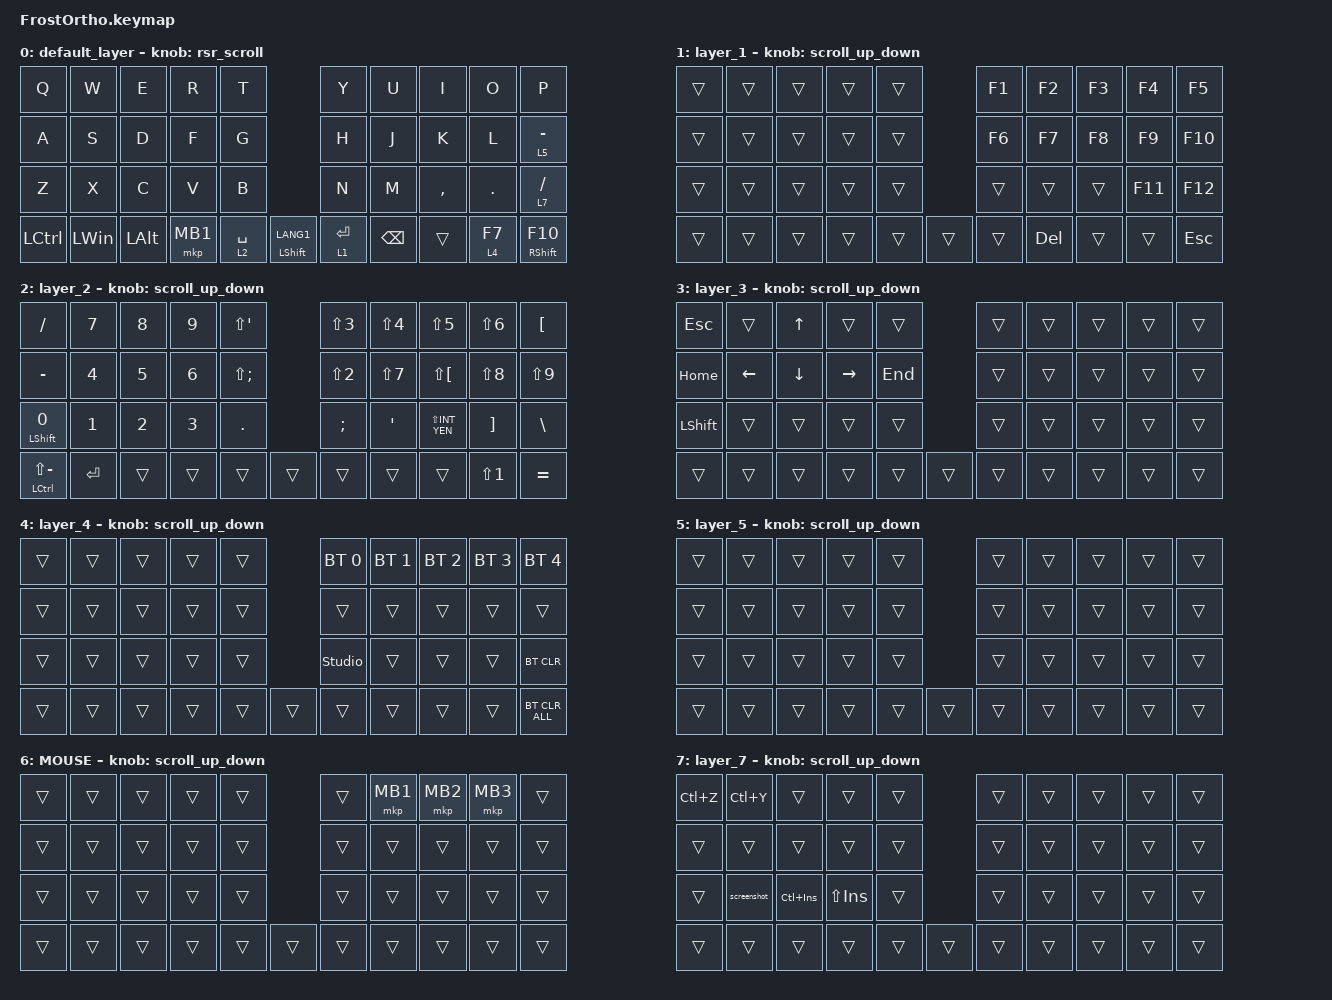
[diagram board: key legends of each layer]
#include <input/processors.dtsi>
#include <behaviors/runtime-sensor-rotate.dtsi>
#include <behaviors/runtime-sensor-rotate.dtsi>
#include <behaviors.dtsi>
#include <dt-bindings/zmk/bt.h>
#include <dt-bindings/zmk/keys.h>
#include <dt-bindings/zmk/pointing.h>

#define MOUSE 6

&mt {
    flavor = "balanced";
    quick-tap-ms = <0>;
};

// AML クリックしたときにタイムアウトを延長

&mkp_input_listener { input-processors = <&zip_temp_layer 6 10000>; };

/ {
    combos {
        compatible = "zmk,combos";

        lang2 {
            bindings = <&kp LANGUAGE_2>;
            key-positions = <13 12>;
        };

        esc {
            bindings = <&kp ESCAPE>;
            key-positions = <35 24>;
        };
    };

    macros {
        to_layer_0: to_layer_0 {
            compatible = "zmk,behavior-macro-one-param";
            #binding-cells = <1>;
            bindings = <&to 0 &macro_param_1to1 &kp MACRO_PLACEHOLDER>;
            label = "TO_LAYER_0";
        };

        screenshot: screenshot {
            compatible = "zmk,behavior-macro";
            #binding-cells = <0>;
            bindings =
                <&to 7>,
                <&macro_press>,
                <&kp LEFT_WIN &kp LEFT_SHIFT &kp S>,
                <&macro_release>,
                <&kp LEFT_WIN &kp LEFT_SHIFT &kp S>;

            label = "SCREENSHOT";
        };
    };

    behaviors {
        lt_to_layer_0: lt_to_layer_0 {
            compatible = "zmk,behavior-hold-tap";
            label = "LAYER_TAP_TO_0";
            bindings = <&mo>, <&to_layer_0>;

            #binding-cells = <2>;
            tapping-term-ms = <300>;
        };

        // Kyemap Editor用

        scroll_up_down: behavior_sensor_rotate_mouse_wheel_up_down {
            compatible = "zmk,behavior-sensor-rotate";
            #sensor-binding-cells = <0>;
            tap-ms = <20>;
            bindings = <&msc SCRL_UP>, <&msc SCRL_DOWN>;
        };

        //vol_up_down: vol_up_down {
        //    compatible = "zmk,behavior-sensor-rotate";
        //    #sensor-binding-cells = <0>;
        //    tap-ms = <5>;
        //    bindings = <&kp C_VOL_DN>, <&kp C_VOL_UP>;
        //};

        // DYA Studio用

        //rsr_vol: rsr_vol {
        //    compatible = "zmk,behavior-runtime-sensor-rotate";
        //    #sensor-binding-cells = <0>;
        //    tap-ms = <5>;
        //    cw-binding = <&kp C_VOL_DN>;
        //    ccw-binding = <&kp C_VOL_UP>;
        //};
        rsr_scroll: rsr_scroll {
            compatible = "zmk,behavior-runtime-sensor-rotate";
            #sensor-binding-cells = <0>;
            tap-ms = <20>;
            cw-binding = <&msc SCRL_DOWN>;
            ccw-binding = <&msc SCRL_UP>;
         };
    };

    keymap {
        compatible = "zmk,keymap";

        default_layer {
            bindings = <
&kp Q             &kp W         &kp E         &kp R     &kp T                                  &kp Y        &kp U          &kp I      &kp O       &kp P
&kp A             &kp S         &kp D         &kp F     &kp G                                  &kp H        &kp J          &kp K      &kp L       &lt 5 MINUS
&kp Z             &kp X         &kp C         &kp V     &kp B                                  &kp N        &kp M          &kp COMMA  &kp PERIOD  &lt 7 SLASH
&kp LEFT_CONTROL  &kp LEFT_WIN  &kp LEFT_ALT  &mkp MB1  &lt 2 SPACE  &mt LEFT_SHIFT LANG1      &lt 1 ENTER  &kp BACKSPACE  &trans     &lt 4 F7    &mt RIGHT_SHIFT F10
            >;

            sensor-bindings = <&rsr_scroll>;
        };

        layer_1 {
            bindings = <
&trans  &trans  &trans  &trans  &trans              &kp F1  &kp F2   &kp F3  &kp F4   &kp F5
&trans  &trans  &trans  &trans  &trans              &kp F6  &kp F7   &kp F8  &kp F9   &kp F10
&trans  &trans  &trans  &trans  &trans              &trans  &trans   &trans  &kp F11  &kp F12
&trans  &trans  &trans  &trans  &trans  &trans      &trans  &kp DEL  &trans  &trans   &kp ESCAPE
            >;

            sensor-bindings = <&scroll_up_down>;
        };

        layer_2 {
            bindings = <
&kp SLASH                   &kp N7     &kp N8  &kp N9  &kp LS(SQT)                    &kp LS(NUMBER_3)  &kp LS(NUMBER_4)  &kp LS(NUMBER_5)      &kp LS(NUMBER_6)   &kp LEFT_BRACKET
&kp MINUS                   &kp N4     &kp N5  &kp N6  &kp LS(SEMICOLON)              &kp LS(N2)        &kp LS(N7)        &kp LS(LEFT_BRACKET)  &kp LS(NUMBER_8)   &kp LS(NUMBER_9)
&mt LEFT_SHIFT N0           &kp N1     &kp N2  &kp N3  &kp PERIOD                     &kp SEMICOLON     &kp SQT           &kp LS(INT_YEN)       &kp RIGHT_BRACKET  &kp BACKSLASH
&mt LEFT_CONTROL LS(MINUS)  &kp ENTER  &trans  &trans  &trans             &trans      &trans            &trans            &trans                &kp LS(NUMBER_1)   &kp EQUAL
            >;

            sensor-bindings = <&scroll_up_down>;
        };

        layer_3 {
            bindings = <
&kp ESCAPE      &trans          &kp UP_ARROW    &trans           &trans               &trans  &trans  &trans  &trans  &trans
&kp HOME        &kp LEFT_ARROW  &kp DOWN_ARROW  &kp RIGHT_ARROW  &kp END              &trans  &trans  &trans  &trans  &trans
&kp LEFT_SHIFT  &trans          &trans          &trans           &trans               &trans  &trans  &trans  &trans  &trans
&trans          &trans          &trans          &trans           &trans   &trans      &trans  &trans  &trans  &trans  &trans
            >;

            sensor-bindings = <&scroll_up_down>;
        };

        layer_4 {
            bindings = <
&trans  &trans  &trans  &trans  &trans              &bt BT_SEL 0    &bt BT_SEL 1  &bt BT_SEL 2  &bt BT_SEL 3  &bt BT_SEL 4
&trans  &trans  &trans  &trans  &trans              &trans          &trans        &trans        &trans        &trans
&trans  &trans  &trans  &trans  &trans              &studio_unlock  &trans        &trans        &trans        &bt BT_CLR
&trans  &trans  &trans  &trans  &trans  &trans      &trans          &trans        &trans        &trans        &bt BT_CLR_ALL
            >;

            sensor-bindings = <&scroll_up_down>;
        };

        layer_5 {
            bindings = <
&trans  &trans  &trans  &trans  &trans              &trans  &trans  &trans  &trans  &trans
&trans  &trans  &trans  &trans  &trans              &trans  &trans  &trans  &trans  &trans
&trans  &trans  &trans  &trans  &trans              &trans  &trans  &trans  &trans  &trans
&trans  &trans  &trans  &trans  &trans  &trans      &trans  &trans  &trans  &trans  &trans
            >;

            sensor-bindings = <&scroll_up_down>;
        };

        MOUSE {
            bindings = <
&trans  &trans  &trans  &trans  &trans              &trans  &mkp MB1  &mkp MB2  &mkp MB3  &trans
&trans  &trans  &trans  &trans  &trans              &trans  &trans    &trans    &trans    &trans
&trans  &trans  &trans  &trans  &trans              &trans  &trans    &trans    &trans    &trans
&trans  &trans  &trans  &trans  &trans  &trans      &trans  &trans    &trans    &trans    &trans
            >;

            sensor-bindings = <&scroll_up_down>;
        };

        layer_7 {
            bindings = <
&kp LC(Z)  &kp LC(Y)    &trans       &trans       &trans              &trans  &trans  &trans  &trans  &trans
&trans     &trans       &trans       &trans       &trans              &trans  &trans  &trans  &trans  &trans
&trans     &screenshot  &kp LC(INS)  &kp LS(INS)  &trans              &trans  &trans  &trans  &trans  &trans
&trans     &trans       &trans       &trans       &trans  &trans      &trans  &trans  &trans  &trans  &trans
            >;

            sensor-bindings = <&scroll_up_down>;
        };
    };
};
